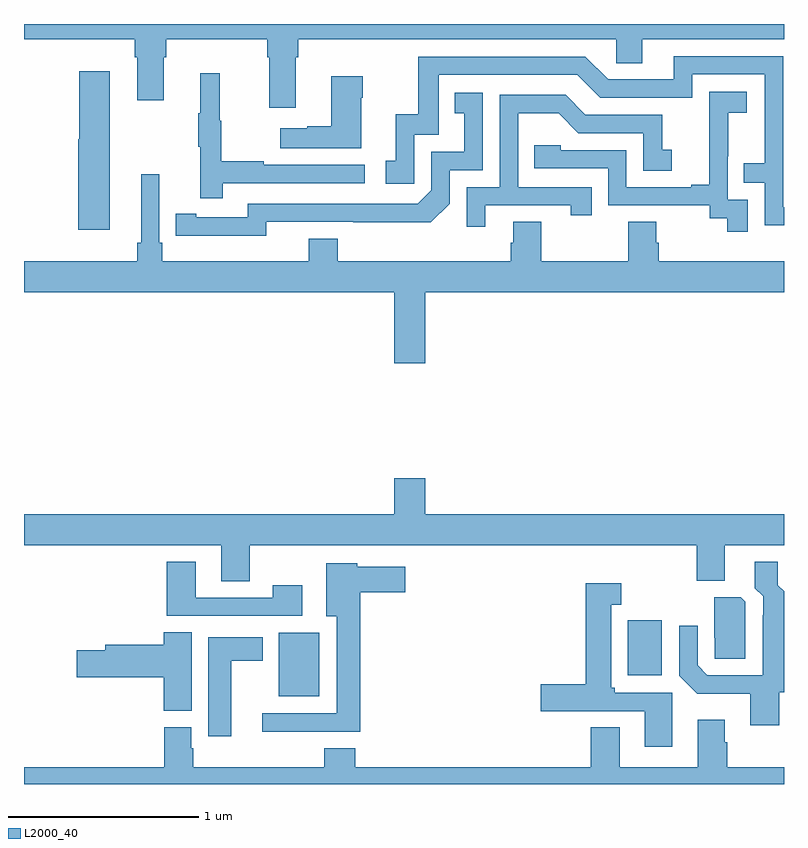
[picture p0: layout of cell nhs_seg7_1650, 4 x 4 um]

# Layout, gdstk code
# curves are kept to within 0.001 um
import gdstk
lib = gdstk.Library(unit=1e-6, precision=1e-09)
def R(c, l, rs):  # rectangles x0, y0, x1, y1
    for r in rs: c.add(gdstk.rectangle(r[:2], r[2:], *l))
def P(c, l, *ps):  # polygons
    for p in ps: c.add(gdstk.Polygon(p, *l))
L2000_40 = (2000, 40)

nhs_seg7_1650 = lib.new_cell('nhs_seg7_1650')
R(nhs_seg7_1650, L2000_40, [(224.342,1026.461,224.554,1026.796), (226.178,1026.572,226.357,1026.862)])
P(nhs_seg7_1650, L2000_40, [(224.431,1029.824),(224.444,1029.824),(224.444,1029.92),(226.116,1029.92),(226.116,1029.793),(226.255,1029.793),(226.255,1029.92),(227,1029.92),(227,1030),(223,1030),(223,1029.92),(223.583,1029.92),(223.583,1029.824),(223.595,1029.824),(223.595,1029.6),(223.735,1029.6),(223.735,1029.824),(223.748,1029.824),(223.748,1029.92),(224.279,1029.92),(224.279,1029.824),(224.291,1029.824),(224.291,1029.558),(224.431,1029.558)],
  [(227,1029.036),(226.995,1029.036),(226.995,1029.831),(226.421,1029.831),(226.421,1029.708),(226.074,1029.708),(225.954,1029.828),(225.075,1029.828),(225.075,1029.526),(224.957,1029.526),(224.957,1029.279),(224.904,1029.279),(224.904,1029.159),(225.054,1029.159),(225.054,1029.417),(225.183,1029.417),(225.183,1029.732),(225.912,1029.732),(226.032,1029.612),(226.518,1029.612),(226.518,1029.735),(226.899,1029.735),(226.899,1029.266),(226.789,1029.266),(226.789,1029.165),(226.899,1029.165),(226.899,1028.94),(227,1028.94)],
  [(223.45,1029.751),(223.292,1029.751),(223.292,1029.393),(223.286,1029.393),(223.286,1028.916),(223.45,1028.916)],
  [(224.045,1029.162),(224.794,1029.162),(224.794,1029.258),(224.261,1029.258),(224.261,1029.278),(224.038,1029.278),(224.038,1029.492),(224.03,1029.492),(224.03,1029.742),(223.928,1029.742),(223.928,1029.529),(223.917,1029.529),(223.917,1029.355),(223.928,1029.355),(223.928,1029.084),(224.045,1029.084)],
  [(224.776,1029.611),(224.784,1029.611),(224.784,1029.724),(224.618,1029.724),(224.618,1029.461),(224.492,1029.461),(224.492,1029.451),(224.349,1029.451),(224.349,1029.347),(224.776,1029.347)],
  [(226.809,1029.075),(226.704,1029.075),(226.704,1029.305),(226.706,1029.305),(226.706,1029.533),(226.804,1029.533),(226.804,1029.643),(226.606,1029.643),(226.606,1029.437),(226.607,1029.437),(226.607,1029.154),(226.511,1029.154),(226.511,1029.141),(226.17,1029.141),(226.17,1029.336),(225.825,1029.336),(225.825,1029.363),(225.685,1029.363),(225.685,1029.24),(226.074,1029.24),(226.074,1029.045),(226.608,1029.045),(226.608,1028.977),(226.701,1028.977),(226.701,1028.907),(226.809,1028.907)],
  [(224.274,1028.958),(225.142,1028.957),(225.24,1029.054),(225.24,1029.231),(225.414,1029.231),(225.414,1029.637),(225.268,1029.637),(225.268,1029.531),(225.317,1029.531),(225.317,1029.327),(225.144,1029.327),(225.144,1029.126),(225.072,1029.054),(224.178,1029.054),(224.178,1028.982),(223.906,1028.982),(223.906,1029.002),(223.798,1029.002),(223.798,1028.886),(224.274,1028.885)],
  [(225.427,1029.045),(225.878,1029.045),(225.878,1028.994),(225.989,1028.994),(225.989,1029.141),(225.6,1029.141),(225.6,1029.53),(225.814,1029.53),(225.918,1029.426),(226.26,1029.426),(226.26,1029.228),(226.408,1029.228),(226.408,1029.337),(226.359,1029.337),(226.359,1029.522),(225.955,1029.522),(225.85,1029.627),(225.504,1029.627),(225.504,1029.141),(225.33,1029.141),(225.33,1028.934),(225.427,1028.934)],
  [(225.112,1028.588),(227,1028.588),(227,1028.752),(226.34,1028.752),(226.34,1028.85),(226.327,1028.85),(226.327,1028.96),(226.18,1028.96),(226.18,1028.752),(225.723,1028.752),(225.723,1028.96),(225.575,1028.96),(225.575,1028.85),(225.563,1028.85),(225.563,1028.752),(224.651,1028.752),(224.651,1028.869),(224.498,1028.869),(224.498,1028.752),(223.727,1028.752),(223.727,1028.848),(223.713,1028.848),(223.713,1029.208),(223.616,1029.208),(223.616,1028.848),(223.597,1028.848),(223.597,1028.752),(223,1028.752),(223,1028.588),(224.948,1028.588),(224.948,1028.214),(225.112,1028.214)],
  [(224.187,1027.256),(226.54,1027.256),(226.54,1027.069),(226.687,1027.069),(226.687,1027.256),(227,1027.256),(227,1027.42),(225.112,1027.42),(225.112,1027.609),(224.948,1027.609),(224.948,1027.42),(223,1027.42),(223,1027.256),(224.039,1027.256),(224.039,1027.066),(224.187,1027.066)],
  [(224.464,1027.045),(224.308,1027.045),(224.308,1026.981),(223.903,1026.981),(223.903,1027.171),(223.751,1027.171),(223.751,1026.885),(224.464,1026.885)],
  [(226.976,1026.483),(227,1026.483),(227,1027.014),(226.967,1027.047),(226.967,1027.171),(226.847,1027.171),(226.847,1027.03),(226.89,1026.987),(226.89,1026.887),(226.887,1026.887),(226.887,1026.573),(226.596,1026.573),(226.545,1026.624),(226.545,1026.832),(226.449,1026.832),(226.449,1026.57),(226.543,1026.476),(226.823,1026.476),(226.823,1026.309),(226.976,1026.309)],
  [(224.771,1027.01),(225.007,1027.01),(225.007,1027.144),(224.754,1027.144),(224.754,1027.162),(224.591,1027.162),(224.591,1026.884),(224.645,1026.884),(224.645,1026.372),(224.253,1026.372),(224.253,1026.275),(224.771,1026.275)],
  [(226.411,1026.48),(226.108,1026.48),(226.108,1026.507),(226.09,1026.507),(226.09,1026.944),(226.144,1026.944),(226.144,1027.057),(225.956,1027.057),(225.956,1026.524),(225.72,1026.524),(225.72,1026.382),(225.972,1026.382),(225.972,1026.384),(226.268,1026.384),(226.268,1026.195),(226.411,1026.195)],
  [(226.797,1026.96),(226.773,1026.984),(226.634,1026.984),(226.634,1026.769),(226.635,1026.769),(226.635,1026.658),(226.797,1026.658)],
  [(223.882,1026.8),(223.736,1026.8),(223.736,1026.734),(223.427,1026.734),(223.427,1026.704),(223.278,1026.704),(223.278,1026.562),(223.736,1026.562),(223.736,1026.385),(223.882,1026.385)],
  [(224.092,1026.65),(224.257,1026.65),(224.257,1026.772),(223.97,1026.772),(223.97,1026.252),(224.092,1026.252)],
  [(227,1026.088),(226.7,1026.088),(226.7,1026.221),(226.687,1026.221),(226.687,1026.337),(226.547,1026.337),(226.547,1026.088),(226.135,1026.088),(226.135,1026.299),(225.983,1026.299),(225.983,1026.088),(224.744,1026.088),(224.744,1026.187),(224.579,1026.187),(224.579,1026.088),(223.892,1026.088),(223.892,1026.189),(223.879,1026.189),(223.879,1026.3),(223.739,1026.3),(223.739,1026.088),(223,1026.088),(223,1026),(227,1026)])

lib.write_gds('nhs_seg7_1650.gds')
